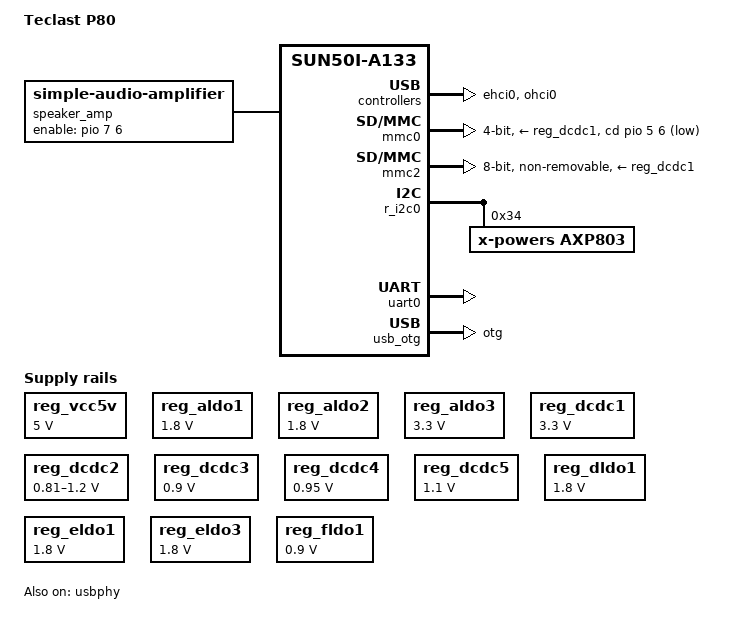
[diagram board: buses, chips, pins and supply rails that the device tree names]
// SPDX-License-Identifier: (GPL-2.0+ OR MIT)
/*
 * Copyright (c) 2026 Arm Ltd.
 */

/dts-v1/;

#include "sun50i-a100.dtsi"
#include "sun50i-a100-cpu-opp.dtsi"

#include <dt-bindings/gpio/gpio.h>

/{
	model = "Teclast P80";
	compatible = "teclast,p80", "allwinner,sun50i-a133";
	chassis-type = "tablet";

	aliases {
		serial0 = &uart0;
	};

	chosen {
		stdout-path = "serial0:115200n8";
	};

	reg_vcc5v: vcc5v {
		/* external power input from the USB-C port*/
		compatible = "regulator-fixed";
		regulator-always-on;
		regulator-min-microvolt = <5000000>;
		regulator-max-microvolt = <5000000>;
		regulator-name = "vcc-5v";
	};

	speaker_amp: audio-amplifier {
		compatible = "simple-audio-amplifier";
		enable-gpios = <&pio 7 6 GPIO_ACTIVE_HIGH>; /* PH6 */
		sound-name-prefix = "Speaker Amp";
	};
};

&cpu0 {
	cpu-supply = <&reg_dcdc2>;
};

&ehci0 {
	status = "okay";
};

&mmc0 {
	bus-width = <4>;
	cd-gpios = <&pio 5 6 GPIO_ACTIVE_LOW>; /* PF6 */
	disable-wp;
	vmmc-supply = <&reg_dcdc1>;
	status = "okay";
};

&mmc2 {
	bus-width = <8>;
	cap-mmc-hw-reset;
	mmc-ddr-1_8v;
	mmc-hs200-1_8v;
	non-removable;
	vmmc-supply = <&reg_dcdc1>;
	vqmmc-supply = <&reg_eldo1>;
	status = "okay";
};

&ohci0 {
	status = "okay";
};

&r_i2c0 {
	status = "okay";

	axp803: pmic@34 {
		compatible = "x-powers,axp803";
		reg = <0x34>;
		interrupt-parent = <&r_intc>;
		interrupts = <0 IRQ_TYPE_LEVEL_LOW>;
		x-powers,drive-vbus-en;
	};
};

#include "axp803.dtsi"

&ac_power_supply {
	status = "okay";
};

&battery_power_supply {
	status = "okay";
};

&reg_aldo1 {
	regulator-always-on;
	regulator-min-microvolt = <1800000>;
	regulator-max-microvolt = <1800000>;
	regulator-name = "vcc-codec-avcc";
};

&reg_aldo2 {
	regulator-always-on;
	regulator-min-microvolt = <1800000>;
	regulator-max-microvolt = <1800000>;
	regulator-name = "vcc-dram-1";
};

&reg_aldo3 {
	regulator-always-on;
	regulator-min-microvolt = <3300000>;
	regulator-max-microvolt = <3300000>;
	regulator-name = "vcc-usb-pl";
};

&reg_dcdc1 {
	regulator-always-on;
	regulator-min-microvolt = <3300000>;
	regulator-max-microvolt = <3300000>;
	regulator-name = "vcc-io-usb-pd-mmc";
};

&reg_dcdc2 {
	regulator-always-on;
	regulator-min-microvolt = <810000>;
	regulator-max-microvolt = <1200000>;
	regulator-name = "vdd-cpux";
};

&reg_dcdc3 {
	regulator-always-on;
	regulator-min-microvolt = <900000>;
	regulator-max-microvolt = <900000>;
	regulator-name = "vdd-usb-cpus";
};

&reg_dcdc4 {
	regulator-always-on;
	regulator-min-microvolt = <950000>;
	regulator-max-microvolt = <950000>;
	regulator-name = "vdd-sys";
};

&reg_dcdc5 {
	regulator-always-on;
	regulator-min-microvolt = <1100000>;
	regulator-max-microvolt = <1100000>;
	regulator-name = "vcc-dram";
};

&reg_dc1sw {
	regulator-name = "vcc-dc1sw";
};

&reg_drivevbus {
	regulator-name = "usb0-vbus";
	status = "okay";
};

&reg_dldo1 {
	regulator-always-on;
	regulator-min-microvolt = <1800000>;
	regulator-max-microvolt = <1800000>;
	regulator-name = "vcc-dldo1";
};

&reg_eldo1 {
	regulator-min-microvolt = <1800000>;
	regulator-max-microvolt = <1800000>;
	regulator-name = "vcc-eldo1";
};

&reg_eldo3 {
	regulator-min-microvolt = <1800000>;
	regulator-max-microvolt = <1800000>;
	regulator-name = "vcc-eldo3";
};

&reg_fldo1 {
	regulator-always-on;
	regulator-min-microvolt = <900000>;
	regulator-max-microvolt = <900000>;
	regulator-name = "vdd-cpus-usb";
};

&uart0 {
	pinctrl-names = "default";
	pinctrl-0 = <&uart0_pb_pins>;
	status = "okay";
};

&usb_otg {
	dr_mode = "otg";
	status = "okay";
};

&usb_power_supply {
	status = "okay";
};

&usbphy {
	usb0_vbus-supply = <&reg_drivevbus>;
	usb0_id_det-gpios = <&pio 7 8 GPIO_ACTIVE_HIGH>; /* PH8 */
	status = "okay";
};
